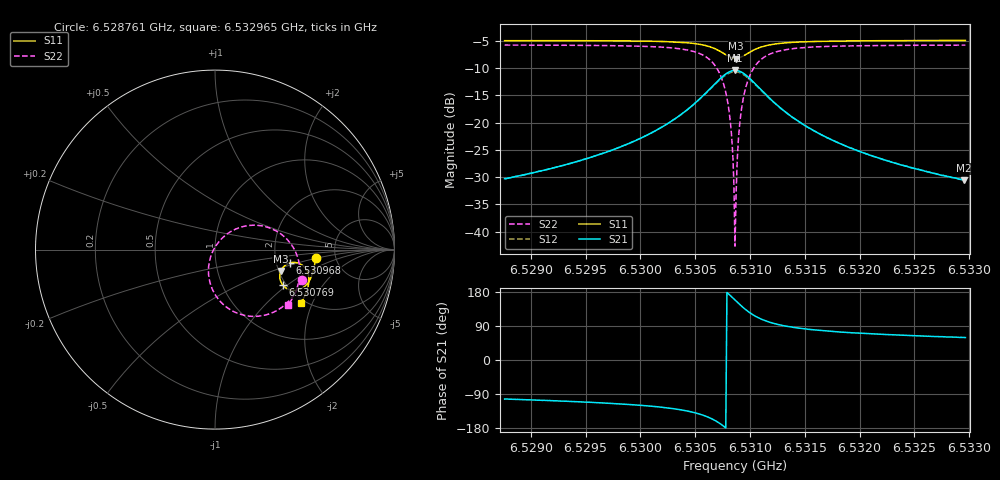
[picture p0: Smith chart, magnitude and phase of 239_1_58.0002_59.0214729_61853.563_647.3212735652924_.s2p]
#  HZ  S  RI  R  50.00
! Rohde & Schwarz Vector Network Analyzer
! Rohde-Schwarz,ZNB20-2Port,1311601062101988,3.16
! Created: UTC 3/21/2024, 1:00:59 AM
! freq[Hz]  re:S11  im:S11  re:S21  im:S21  re:S12  im:S12  re:S22  im:S22
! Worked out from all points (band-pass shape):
!   401 points, 6.528761 GHz to 6.532965 GHz, reference 50 ohm
!   highest |S21| = -10.45 dB at 6.530863 GHz (marker M1); lowest = -30.6 dB at 6.532955 GHz (marker M2)
!   |S21| within 3 dB of the highest: 6.530653 GHz to 6.531074 GHz (420.7 kHz wide, 0.00644 % of centre)
!   lowest |S11| = -8.3 dB at 6.530874 GHz (marker M3), VSWR 2.26, Z = 102 - j28.8 ohm
!   |S11| at or under -10 dB: nowhere
!   |S22| runs from -42.6 to -5.8 dB; largest |S21 - S12| = 0.012
!   S11 on the Smith chart (normalised r, x): 6.528761 GHz: 3.49, -0.49; 6.530769 GHz: 1.92, -0.92; 6.530968 GHz: 2.38, -0.43; 6.532965 GHz: 1.89, -1.65
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6.528761e9  0.5602 -0.0477  -0.00696 -0.0299  -0.00749 -0.0296  0.4832 -0.1689
6.5294652e9  0.5511 -0.1063  -0.016 -0.0424  -0.017 -0.0421  0.4522 -0.2328
6.5301694e9  0.5242 -0.1761  -0.0489 -0.0729  -0.051 -0.0714  0.3716 -0.322
6.5305898e9  0.4552 -0.2266  -0.1546 -0.0984  -0.1571 -0.0921  0.1687 -0.3674
6.5306949e9  0.4107 -0.2221  -0.223 -0.0726  -0.2222 -0.0633  0.0539 -0.3124
6.5307685e9  0.3763 -0.1957  -0.2731 -0.0154  -0.2676 -0.00542  -0.0204 -0.2069
6.5308105e9  0.3633 -0.1685  -0.2889 0.0366  -0.2802 0.0447  -0.0366 -0.1183
6.5308316e9  0.3609 -0.1526  -0.2893 0.066  -0.2796 0.0725  -0.032 -0.0699
6.5308421e9  0.3611 -0.1441  -0.2875 0.0809  -0.2773 0.0865  -0.0261 -0.0459
6.5308526e9  0.3621 -0.1359  -0.284 0.0957  -0.2737 0.1005  -0.018 -0.0224
6.5308631e9  0.3639 -0.1277  -0.2792 0.1104  -0.2685 0.114  -0.00736 0.000496
6.5308736e9  0.3666 -0.1196  -0.2731 0.1245  -0.2623 0.127  0.00567 0.0222
6.5308841e9  0.3701 -0.1121  -0.2654 0.1376  -0.2548 0.1393  0.0205 0.0423
6.5308946e9  0.3745 -0.105  -0.2566 0.1499  -0.2463 0.1508  0.0371 0.0609
6.5309157e9  0.3851 -0.0927  -0.2363 0.1711  -0.2265 0.1705  0.0743 0.0918
6.5309682e9  0.4174 -0.0744  -0.1771 0.2026  -0.1704 0.1998  0.1773 0.1328
6.5310418e9  0.4595 -0.0741  -0.1034 0.2047  -0.0998 0.2019  0.3008 0.1217
6.5311469e9  0.4965 -0.0958  -0.04 0.1748  -0.0381 0.173  0.4028 0.0555
6.5315673e9  0.523 -0.1748  0.0149 0.0844  0.0161 0.0842  0.4723 -0.1336
6.5322715e9  0.5048 -0.2465  0.0174 0.0406  0.018 0.0403  0.4431 -0.2484
6.5329547e9  0.4792 -0.2979  0.0151 0.0255  0.0157 0.0254  0.4085 -0.3075
6.5329652e9  0.4787 -0.2986  0.0152 0.0255  0.0157 0.0252  0.4081 -0.3082
